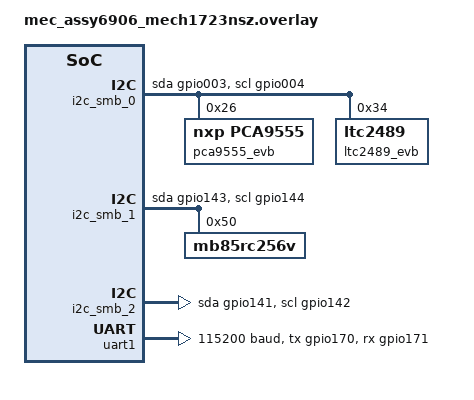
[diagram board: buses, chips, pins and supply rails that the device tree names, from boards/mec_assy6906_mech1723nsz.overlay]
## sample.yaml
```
# This file is provided so that the application can be compiled using Twister,
# the Zephyr testing tool. In this file, multiple combinations can be specified,
# so that you can easily test all of them locally or in CI.
sample:
  description: Example application for TACH sensor using ICCT
  name: example-tach-icct-application
common:
  build_only: true
  platform_allow:
    - mec_assy6906_mech1723nlj
    - mec_assy6906_mech1723nsz
    - mec_assy6941_mec1743qlj
    - mec_assy6941_mec1743qsz
    - mec_assy6941_mec1753qlj
    - mec_assy6941_mec1753qsz
tests:
  app.default: {}
  app.debug:
    extra_overlay_confs:
      - debug.conf
```

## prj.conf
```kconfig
# Copyright (c) 2025 Microchip Technology Inc.
# SPDX-License-Identifier: Apache-2.0
#
# This file contains selected Kconfig options for the application.

CONFIG_LOG=y
CONFIG_LOG_MODE_IMMEDIATE=y
CONFIG_LOG_BACKEND_UART=y

CONFIG_PWM=y
CONFIG_SENSOR=y

# CONFIG_DEBUG=y
```

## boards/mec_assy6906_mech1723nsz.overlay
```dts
/*
 * Copyright (c) 2025 Microchip Technology Inc.
 * SPDX-License-Identifier: Apache-2.0
 */

#include <zephyr/dt-bindings/gpio/gpio.h>
#include <zephyr/dt-bindings/gpio/microchip-xec-gpio.h>

/*
 * MEC5_ASSY6906 with MEC5200M-LJ part.
 * JP6 2-3 GPIO074 (BSS_STRAP) pulled-down via 10K to ground selects
 *   Boot-ROM load from Shared-SPI.
 * JP7 No jumper
 * JP23 14-15 selects GPIO055 as SHD_nCS0
 * JP42 1-2 connects 1.8V
 * JP60 2-3 VTR2 is powered by 1.8V
 * NOTE: VTR3 is always 1.8V
 *
 * GPIO175/CMP_VOUT1/PWM8_ALT on schematic, LED4 on silkscreen.
 *
 * I2C00_SDA/SCL = GPIO003/004
 * Install Jumper JP15 4-5 to route GPIO004 as I2C00_SCL/UART2_DCD
 * Install Jumper JP15 7-8 to route GPIO003 as I2C00_SDA/UART2_RI
 * Install Jumper JP27 34-35 to select I2C00_SDA
 * Install Jumper JP27 31-32 to select I2C00_SCL
 * Install Jumper JP70 19-20 7.5K pull-up to VTR1 for I2C00_SDA
 * Install Jumper JP70 21-22 7.5K pull-up to VTR1 for I2C00_SCL
 *
 * U4 is PCA9555 I2C GPIO expander
 * JP52 1-2 use +3.3V_STBY
 * JP61 1-2, 3-4 connect I2C00_SCL and I2C00_SDA to EXTERNAL_SCLK/SDATA
 * JP55 selects I2C address
 * 1-2 = A0, 3-4 = A1, 5-6 = A2 all pull-up by default. Install jumper to ground signals.
 * Installed jumper on JP55 1-2. I2C Address = 0x26
 *
 * U19 is LTC2489 I2C 4-channel delta-sigma ADC
 * Address select pins CA0, CA1 both pulled high. Install jumpers to ground signals.
 * Installed jumpers on JP124 1-2 and 3-4. I2C Address = 0x34
 *
 * Attached Fujitsu MB85RC256V I2C FRAM demo board to 6-pin header J17
 * AdaFruit I2C FRAM breakout board.
 * NOTE: removed demo board 1K pulls on SCL and SDA. Using EVB pulls on SCL/SDA.
 * This device allows testing of larger I2C messages and breaking up large transactions
 * into multiple message buffers.
 * FRAM board power -> J17-5 VTR1 (3.3V)
 * FRAM board GND   -> J17-6 GND
 * FRAM board SCL   -> J17-1 I2C00_SCL
 * FRAM board SDA   -> J17-3 I2C00_SDA
 * FRAM address pins A0, A1, A2 are internally pulled-down.
 * I2C Address = 1010_A2_A1_A0 = 0x50 (default)
 *
 * JP14 3x6
 * 4-5 GPIO004 I2C00_SCL
 * 7-8 GPIO003 I2C00_SDA
 *
 * JP58
 * 1-2 GPIO004 I2C00_SCL to EXTERNAL_SCLK
 * 3-4 GPIO003 I2C00_SDA to EXTERNAL_SDA
 *
 * EXTERNAL_SCLK, EXTERNAL_SDA are connected to
 * U4 PCA9555PW I2C to GPIO expander
 * U19 LTC2489CDE ADC
 *
 * JP17 3x8
 *  19-20 GPIO144 I2C04_SCL
 *  22-23 GPIO143 I2C04_SDA
 *
 * JP22 3x4
 *  1-2 GPIO144 I2C04_SCL
 *  4-5 GPIO143 I2C04_SDA
 *
 * pull-ups. For I2C_TARGET tests only connect one set up pull-ups
 * since we are connecting I2C port 0 and port 4 together.
 * JP68 19-20 I2C00_SDA connected via 7.5K pull-up to VTR1
 * JP68 21-22 I2C00_SCL connected via 7.5K pull-up to VTR1
 * JP70 25-26 I2C04_SDA connected via 7.5K pull-up to VTR1
 * JP70 27-28 I2C04_SCL connected via 7.5K pull-up to VTR1
 *
 * I2C Port 4 is on VTR1. 1x6 header J14
 * 1 = I2C04_SCL
 * 2, 6 = GND
 * 3 = I2C04_SDA
 * 4 = NC
 * 5 = VTR1
 *
 * I2C Port 0 is on VTR1. 1x6 header J10
 * 1 = I2C00_SCL
 * 2, 6 = GND
 * 3 = I2C00_SDA
 * 4 = NC
 * 5 = VTR1
 *
 * Use I2C00 port on I2C00 device as external Controller
 * Use I2C04 port on I2C01 device as target
 * Add wires:
 * J17-1 to J12-1
 * J17-3 to J12-3
 * Disable pull-ups on I2C00 port:
 * Remove jumpers JP70 19-20 and 21-22
 */

/ {
	aliases {
		i2c0 = &i2c_smb_0;
		i2c-0 = &i2c_smb_0;
		i2c1 = &i2c_smb_1;
		i2c-1 = &i2c_smb_1;
		i2c2 = &i2c_smb_2;
		i2c-2 = &i2c_smb_2;
	};

	zephyr,user {
		pinctrl-0 = <&tst_clk_out_gpio060>;
		pinctrl-names = "default";
	};
};

&dmac {
	compatible = "microchip,mec5-dmac";
	status = "okay";
};

/* I2C Port 0 */
/*	drive-strength = "4x"; */
&i2c00_scl_gpio004 {
	drive-open-drain;
	output-enable;
	output-high;
	drive-strength = "4x";
};
&i2c00_sda_gpio003 {
	drive-open-drain;
	output-enable;
	output-high;
	drive-strength = "4x";
};

/* I2C Port 4 */
&i2c04_sda_gpio143 {
	drive-open-drain;
	output-enable;
	output-high;
	drive-strength = "4x";
};
&i2c04_scl_gpio144 {
	drive-open-drain;
	output-enable;
	output-high;
	drive-strength = "4x";
};

/* I2C Port 5 */
&i2c05_sda_gpio141 {
	drive-open-drain;
	output-enable;
	output-high;
	drive-strength = "4x";
};
&i2c05_scl_gpio142 {
	drive-open-drain;
	output-enable;
	output-high;
	drive-strength = "4x";
};

&i2c_smb_0 {
	compatible = "microchip,mec5-i2c";
	status = "okay";
	port_sel = < 0 >;
	sda-gpios = < MCHP_GPIO_DECODE_003 0 >;
	scl-gpios = < MCHP_GPIO_DECODE_004 0 >;
	pinctrl-0 = < &i2c00_sda_gpio003 &i2c00_scl_gpio004 >;
	pinctrl-names = "default";

	pca9555_evb: pca9555@26 {
		/* Zephyr will load NXP PCA9555 driver after MEC5 I2C because it calls MEC5 I2C during init */
		compatible = "nxp,pca9555";
		reg = <0x26>;
		ngpios = <16>;
		gpio-controller;
		#gpio-cells = <2>;
	};

	ltc2489_evb: ltc2489@34 {
		/* No Zephyr driver exists */
		reg = <0x34>;
		#io-channels-cells = <1>;
	};
};

&i2c_smb_1 {
	compatible = "microchip,mec5-i2c";
	status = "okay";
	port_sel = < 4 >;
	sda-gpios = < MCHP_GPIO_DECODE_143 0 >;
	scl-gpios = < MCHP_GPIO_DECODE_144 0 >;
	pinctrl-0 = < &i2c04_sda_gpio143 &i2c04_scl_gpio144 >;
	pinctrl-names = "default";

	/* External Fujitsu MB85RC256V 256KB (32K x 8) FRAM */
	mb85rc256v: mb85rc256v@50 {
		/* No Zephyr driver exists */
		reg = <0x50>;
	};
};

&i2c_smb_2 {
	compatible = "microchip,mec5-i2c-nl-zd";
	interrupts = <22 3>; /* lower priority than default priority of DMA channels */
	port_sel = < 5 >;
	pinctrl-0 = < &i2c05_sda_gpio141 &i2c05_scl_gpio142 >;
	pinctrl-names = "default";
	dmas = <&dmac 4 0x5>, <&dmac 5 0x4>;
	dma-names = "cm", "tm";
	status = "okay";
};

&uart1 {
	current-speed = <115200>;
	status = "okay";
	pinctrl-0 = <&uart1_tx_gpio170 &uart1_rx_gpio171>;
	pinctrl-names = "default";
};
```

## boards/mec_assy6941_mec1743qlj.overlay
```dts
/*
 * Copyright (c) 2025 Microchip Technology Inc.
 * SPDX-License-Identifier: Apache-2.0
 */

#include <zephyr/dt-bindings/gpio/gpio.h>
#include <zephyr/dt-bindings/gpio/microchip-xec-gpio.h>

/*
 * MEC5_ASSY6941 with MEC1743Q-LJ part.
 * JP8 1-2 GPIO055 (BSS_STRAP) pulled-down via 10K to ground selects
 *   Boot-ROM load from eSPI
 * JP7 No jumper
 * JP18 14-15 selects GPIO055 as SHD_nCS0
 * JP45 1-2 connects 1.8V
 * JP62 2-3 and JP68 3-4 VTR2 is powered by 1.8V
 * NOTE: VTR3 is always 1.8V
 *
 * GPIO175/CMP_VOUT1/PWM8_ALT on schematic, LED4 on silkscreen.
 *
 * I2C00_SDA/SCL = GPIO003/004
 * Install Jumper JP15 4-5 to route GPIO004 as I2C00_SCL/UART2_DCD
 * Install Jumper JP15 7-8 to route GPIO003 as I2C00_SDA/UART2_RI
 * Install Jumper JP27 34-35 to select I2C00_SDA
 * Install Jumper JP27 31-32 to select I2C00_SCL
 * Install Jumper JP70 19-20 7.5K pull-up to VTR1 for I2C00_SDA
 * Install Jumper JP70 21-22 7.5K pull-up to VTR1 for I2C00_SCL
 *
 * JP61
 * 1-2 GPIO004 I2C00_SCL to EXTERNAL_SCLK
 * 3-4 GPIO003 I2C00_SDA to EXTERNAL_SDA
 *
 * I2C04_SDA/SCL = GPIO143/144
 * Install Jumper JP20 1-2 to route GPIO144 as I2C04_SCL/UART0_nRTS
 * Install Jumper JP20 4-5 to route GPIO143 as I2C04_SDA/UART0_CTS
 * Install Jumper JP21 13-14 to select I2C04_SCL
 * Install Jumper JP21 25-26 to select I2C04_SDA
 * Install Jumper JP71 25-26 7.5K pull-up to VTR1 for I2C04_SDA
 * Install Jumper JP71 27-28 7.5K pull-up to VTR1 for I2C04_SCL
 *
 * EVB I2C target devices on EXTERNAL_SCLK/SDA bus.
 * U4 is PCA9555 I2C GPIO expander
 * JP52 1-2 use +3.3V_STBY
 * JP61 1-2, 3-4 connect I2C00_SCL and I2C00_SDA to EXTERNAL_SCLK/SDATA
 * JP55 selects I2C address
 * 1-2 = A0, 3-4 = A1, 5-6 = A2 all pull-up by default. Install jumper to ground signals.
 * Installed jumper on JP55 1-2. I2C Address = 0x26
 *
 * U19 is LTC2489 I2C 4-channel delta-sigma ADC
 * Address select pins CA0, CA1 both pulled high. Install jumpers to ground signals.
 * Installed jumpers on JP124 1-2 and 3-4. I2C Address = 0x34
 *
 * Added target device to I2C04 using header J17
 * Attached Fujitsu MB85RC256V I2C FRAM demo board to 6-pin header J17
 * AdaFruit I2C FRAM breakout board.
 * NOTE: removed demo board 1K pulls on SCL and SDA. Using EVB pulls on SCL/SDA.
 * This device allows testing of larger I2C messages and breaking up large transactions
 * into multiple message buffers.
 * FRAM board power -> J17-5 VTR1 (3.3V)
 * FRAM board GND   -> J17-6 GND
 * FRAM board SCL   -> J17-1 I2C00_SCL
 * FRAM board SDA   -> J17-3 I2C00_SDA
 * FRAM address pins A0, A1, A2 are internally pulled-down.
 * I2C Address = 1010_A2_A1_A0 = 0x50 (default)
 *
 * I2C Port 4 is on VTR1. 1x6 header J17
 * 1 = I2C04_SCL
 * 2, 6 = GND
 * 3 = I2C04_SDA
 * 4 = NC
 * 5 = VTR1
 *
 * I2C Port 0 is on VTR1. 1x6 header J12
 * 1 = I2C00_SCL
 * 2, 6 = GND
 * 3 = I2C00_SDA
 * 4 = NC
 * 5 = VTR1
 *
 * Use I2C00 port on I2C00 device as external Controller
 * Use I2C04 port on I2C01 device as target
 * Add wires:
 * J17-1 to J12-1
 * J17-3 to J12-3
 * Disable pull-ups on I2C00 port:
 * Remove jumpers JP70 19-20 and 21-22
 */

/ {
	aliases {
		i2c0 = &i2c_smb_0;
		i2c-0 = &i2c_smb_0;
		i2c1 = &i2c_smb_1;
		i2c-1 = &i2c_smb_1;
		i2c2 = &i2c_smb_2;
		i2c-2 = &i2c_smb_2;
	};

	zephyr,user {
		pinctrl-0 = <&tst_clk_out_gpio060>;
		pinctrl-names = "default";
	};
};

&dmac {
	compatible = "microchip,mec5-dmac";
	status = "okay";
};

/* I2C Port 0 */
/*	drive-strength = "4x"; */
&i2c00_scl_gpio004 {
	drive-open-drain;
	output-enable;
	output-high;
	drive-strength = "4x";
};
&i2c00_sda_gpio003 {
	drive-open-drain;
	output-enable;
	output-high;
	drive-strength = "4x";
};

/* I2C Port 4 */
&i2c04_sda_gpio143 {
	drive-open-drain;
	output-enable;
	output-high;
	drive-strength = "4x";
};
&i2c04_scl_gpio144 {
	drive-open-drain;
	output-enable;
	output-high;
	drive-strength = "4x";
};

/* I2C Port 5 */
&i2c05_sda_gpio141 {
	drive-open-drain;
	output-enable;
	output-high;
	drive-strength = "4x";
};
&i2c05_scl_gpio142 {
	drive-open-drain;
	output-enable;
	output-high;
	drive-strength = "4x";
};

&i2c_smb_0 {
	compatible = "microchip,mec5-i2c";
	status = "okay";
	port_sel = < 0 >;
	sda-gpios = < MCHP_GPIO_DECODE_003 0 >;
	scl-gpios = < MCHP_GPIO_DECODE_004 0 >;
	pinctrl-0 = < &i2c00_sda_gpio003 &i2c00_scl_gpio004 >;
	pinctrl-names = "default";

	pca9555_evb: pca9555@26 {
		/* Zephyr will load NXP PCA9555 driver after MEC5 I2C because it calls MEC5 I2C during init */
		compatible = "nxp,pca9555";
		reg = <0x26>;
		ngpios = <16>;
		gpio-controller;
		#gpio-cells = <2>;
	};

	ltc2489_evb: ltc2489@34 {
		/* No Zephyr driver exists */
		reg = <0x34>;
		#io-channels-cells = <1>;
	};
};

&i2c_smb_1 {
	compatible = "microchip,mec5-i2c";
	status = "okay";
	port_sel = < 4 >;
	sda-gpios = < MCHP_GPIO_DECODE_143 0 >;
	scl-gpios = < MCHP_GPIO_DECODE_144 0 >;
	pinctrl-0 = < &i2c04_sda_gpio143 &i2c04_scl_gpio144 >;
	pinctrl-names = "default";

	/* External Fujitsu MB85RC256V 256KB (32K x 8) FRAM */
	mb85rc256v: mb85rc256v@50 {
		/* No Zephyr driver exists */
		reg = <0x50>;
	};
};

&i2c_smb_2 {
	compatible = "microchip,mec5-i2c-nl-zd";
	interrupts = <22 3>; /* lower priority than default priority of DMA channels */
	port_sel = < 5 >;
	pinctrl-0 = < &i2c05_sda_gpio141 &i2c05_scl_gpio142 >;
	pinctrl-names = "default";
	dmas = <&dmac 4 0x5>, <&dmac 5 0x4>;
	dma-names = "cm", "tm";
	status = "okay";
};

&uart1 {
	current-speed = <115200>;
	status = "okay";
	pinctrl-0 = <&uart1_tx_gpio170 &uart1_rx_gpio171>;
	pinctrl-names = "default";
};
```

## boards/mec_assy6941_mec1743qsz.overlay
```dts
/*
 * Copyright (c) 2025 Microchip Technology Inc.
 * SPDX-License-Identifier: Apache-2.0
 */

#include <zephyr/dt-bindings/gpio/gpio.h>
#include <zephyr/dt-bindings/gpio/microchip-xec-gpio.h>

/*
 * MEC5_ASSY6941 with MEC1743Q-SZ part.
 * JP8 1-2 GPIO055 (BSS_STRAP) pulled-down via 10K to ground selects
 *   Boot-ROM load from eSPI
 * JP7 No jumper
 * JP18 14-15 selects GPIO055 as SHD_nCS0
 * JP45 1-2 connects 1.8V
 * JP62 2-3 and JP68 3-4 VTR2 is powered by 1.8V
 * NOTE: VTR3 is always 1.8V
 *
 * GPIO175/CMP_VOUT1/PWM8_ALT on schematic, LED4 on silkscreen.
 *
 * I2C00_SDA/SCL = GPIO003/004
 * Install Jumper JP15 4-5 to route GPIO004 as I2C00_SCL/UART2_DCD
 * Install Jumper JP15 7-8 to route GPIO003 as I2C00_SDA/UART2_RI
 * Install Jumper JP27 34-35 to select I2C00_SDA
 * Install Jumper JP27 31-32 to select I2C00_SCL
 * Install Jumper JP70 19-20 7.5K pull-up to VTR1 for I2C00_SDA
 * Install Jumper JP70 21-22 7.5K pull-up to VTR1 for I2C00_SCL
 *
 * JP61
 * 1-2 GPIO004 I2C00_SCL to EXTERNAL_SCLK
 * 3-4 GPIO003 I2C00_SDA to EXTERNAL_SDA
 *
 * I2C04_SDA/SCL = GPIO143/144
 * Install Jumper JP20 1-2 to route GPIO144 as I2C04_SCL/UART0_nRTS
 * Install Jumper JP20 4-5 to route GPIO143 as I2C04_SDA/UART0_CTS
 * Install Jumper JP21 13-14 to select I2C04_SCL
 * Install Jumper JP21 25-26 to select I2C04_SDA
 * Install Jumper JP71 25-26 7.5K pull-up to VTR1 for I2C04_SDA
 * Install Jumper JP71 27-28 7.5K pull-up to VTR1 for I2C04_SCL
 *
 * EVB I2C target devices on EXTERNAL_SCLK/SDA bus.
 * U4 is PCA9555 I2C GPIO expander
 * JP52 1-2 use +3.3V_STBY
 * JP61 1-2, 3-4 connect I2C00_SCL and I2C00_SDA to EXTERNAL_SCLK/SDATA
 * JP55 selects I2C address
 * 1-2 = A0, 3-4 = A1, 5-6 = A2 all pull-up by default. Install jumper to ground signals.
 * Installed jumper on JP55 1-2. I2C Address = 0x26
 *
 * U19 is LTC2489 I2C 4-channel delta-sigma ADC
 * Address select pins CA0, CA1 both pulled high. Install jumpers to ground signals.
 * Installed jumpers on JP124 1-2 and 3-4. I2C Address = 0x34
 *
 * Added target device to I2C04 using header J17
 * Attached Fujitsu MB85RC256V I2C FRAM demo board to 6-pin header J17
 * AdaFruit I2C FRAM breakout board.
 * NOTE: removed demo board 1K pulls on SCL and SDA. Using EVB pulls on SCL/SDA.
 * This device allows testing of larger I2C messages and breaking up large transactions
 * into multiple message buffers.
 * FRAM board power -> J17-5 VTR1 (3.3V)
 * FRAM board GND   -> J17-6 GND
 * FRAM board SCL   -> J17-1 I2C00_SCL
 * FRAM board SDA   -> J17-3 I2C00_SDA
 * FRAM address pins A0, A1, A2 are internally pulled-down.
 * I2C Address = 1010_A2_A1_A0 = 0x50 (default)
 *
 * I2C Port 4 is on VTR1. 1x6 header J17
 * 1 = I2C04_SCL
 * 2, 6 = GND
 * 3 = I2C04_SDA
 * 4 = NC
 * 5 = VTR1
 *
 * I2C Port 0 is on VTR1. 1x6 header J12
 * 1 = I2C00_SCL
 * 2, 6 = GND
 * 3 = I2C00_SDA
 * 4 = NC
 * 5 = VTR1
 *
 * Use I2C00 port on I2C00 device as external Controller
 * Use I2C04 port on I2C01 device as target
 * Add wires:
 * J17-1 to J12-1
 * J17-3 to J12-3
 * Disable pull-ups on I2C00 port:
 * Remove jumpers JP70 19-20 and 21-22
 */

/ {
	aliases {
		i2c0 = &i2c_smb_0;
		i2c-0 = &i2c_smb_0;
		i2c1 = &i2c_smb_1;
		i2c-1 = &i2c_smb_1;
		i2c2 = &i2c_smb_2;
		i2c-2 = &i2c_smb_2;
	};

	zephyr,user {
		pinctrl-0 = <&tst_clk_out_gpio060>;
		pinctrl-names = "default";
	};
};

&dmac {
	compatible = "microchip,mec5-dmac";
	status = "okay";
};

/* I2C Port 0 */
/*	drive-strength = "4x"; */
&i2c00_scl_gpio004 {
	drive-open-drain;
	output-enable;
	output-high;
	drive-strength = "4x";
};
&i2c00_sda_gpio003 {
	drive-open-drain;
	output-enable;
	output-high;
	drive-strength = "4x";
};

/* I2C Port 4 */
&i2c04_sda_gpio143 {
	drive-open-drain;
	output-enable;
	output-high;
	drive-strength = "4x";
};
&i2c04_scl_gpio144 {
	drive-open-drain;
	output-enable;
	output-high;
	drive-strength = "4x";
};

/* I2C Port 5 */
&i2c05_sda_gpio141 {
	drive-open-drain;
	output-enable;
	output-high;
	drive-strength = "4x";
};
&i2c05_scl_gpio142 {
	drive-open-drain;
	output-enable;
	output-high;
	drive-strength = "4x";
};

&i2c_smb_0 {
	compatible = "microchip,mec5-i2c";
	status = "okay";
	port_sel = < 0 >;
	sda-gpios = < MCHP_GPIO_DECODE_003 0 >;
	scl-gpios = < MCHP_GPIO_DECODE_004 0 >;
	pinctrl-0 = < &i2c00_sda_gpio003 &i2c00_scl_gpio004 >;
	pinctrl-names = "default";

	pca9555_evb: pca9555@26 {
		/* Zephyr will load NXP PCA9555 driver after MEC5 I2C because it calls MEC5 I2C during init */
		compatible = "nxp,pca9555";
		reg = <0x26>;
		ngpios = <16>;
		gpio-controller;
		#gpio-cells = <2>;
	};

	ltc2489_evb: ltc2489@34 {
		/* No Zephyr driver exists */
		reg = <0x34>;
		#io-channels-cells = <1>;
	};
};

&i2c_smb_1 {
	compatible = "microchip,mec5-i2c";
	status = "okay";
	port_sel = < 4 >;
	sda-gpios = < MCHP_GPIO_DECODE_143 0 >;
	scl-gpios = < MCHP_GPIO_DECODE_144 0 >;
	pinctrl-0 = < &i2c04_sda_gpio143 &i2c04_scl_gpio144 >;
	pinctrl-names = "default";

	/* External Fujitsu MB85RC256V 256KB (32K x 8) FRAM */
	mb85rc256v: mb85rc256v@50 {
		/* No Zephyr driver exists */
		reg = <0x50>;
	};
};

&i2c_smb_2 {
	compatible = "microchip,mec5-i2c-nl-zd";
	interrupts = <22 3>; /* lower priority than default priority of DMA channels */
	port_sel = < 5 >;
	pinctrl-0 = < &i2c05_sda_gpio141 &i2c05_scl_gpio142 >;
	pinctrl-names = "default";
	dmas = <&dmac 4 0x5>, <&dmac 5 0x4>;
	dma-names = "cm", "tm";
	status = "okay";
};

&uart1 {
	current-speed = <115200>;
	status = "okay";
	pinctrl-0 = <&uart1_tx_gpio170 &uart1_rx_gpio171>;
	pinctrl-names = "default";
};
```

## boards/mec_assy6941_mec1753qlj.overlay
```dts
/*
 * Copyright (c) 2025 Microchip Technology Inc.
 * SPDX-License-Identifier: Apache-2.0
 */

#include <zephyr/dt-bindings/gpio/gpio.h>
#include <zephyr/dt-bindings/gpio/microchip-xec-gpio.h>

/*
 * MEC5_ASSY6941 with MEC1753Q-LJ part.
 * JP8 1-2 GPIO055 (BSS_STRAP) pulled-down via 10K to ground selects
 *   Boot-ROM load from eSPI
 * JP7 No jumper
 * JP18 14-15 selects GPIO055 as SHD_nCS0
 * JP45 1-2 connects 1.8V
 * JP62 2-3 and JP68 3-4 VTR2 is powered by 1.8V
 * NOTE: VTR3 is always 1.8V
 *
 * GPIO175/CMP_VOUT1/PWM8_ALT on schematic, LED4 on silkscreen.
 *
 * Capture Compare Timer input capture pins:
 * ICT0  GPIO050 F1 VTR1    use for testing
 * ICT1  GPIO051 F1 VTR1    use for testing
 * ICT2  GPIO052 F1 VTR2
 * ICT3  GPIO016 F3 VTR2
 * ICT4  GPIO151 F1 VTR1   use for testing
 * ICT5  GPIO140 F4 VTR1
 * ICT5_ALT GPIO065 F3 VTR3
 * ICT6  GPIO100 F2 VTR3
 * ICT7  GPIO011 F3 VTR3
 * ICT8  GPIO063 F3 VTR3
 * ICT9  GPIO113 F2 VTR1
 * ICT10 GPIO015 F2 VTR2
 * ICT11 GPIO046 F3 VTR1
 * ICT12 GPIO124 F3 VTR1
 * ICT13 GPIO047 F3 VTR1
 * ICT14 GPIO045 F3 VTR1
 * ICT15 GPIO035 F3 VTR1   use for testing
 */

/ {
	aliases {
		i2c0 = &i2c_smb_0;
		i2c-0 = &i2c_smb_0;
		i2c1 = &i2c_smb_1;
		i2c-1 = &i2c_smb_1;
		i2c2 = &i2c_smb_2;
		i2c-2 = &i2c_smb_2;
	};

	zephyr,user {
		pinctrl-0 = <&tst_clk_out_gpio060>;
		pinctrl-names = "default";
	};
};

&cctmr0 {
	compatible = "microchip,mec5-tach-cct";
	pinctrl-0 = <&ict0_tach0_gpio050 &ict1_tach1_gpio051 &ict4_gpio151 &ict15_gpio035>;
	pinctrl-names = "default";
	compare-channels = <0 1 4 15>;
	status = "okay";
};

/* I2C Port 0 */
/*	drive-strength = "4x"; */
&i2c00_scl_gpio004 {
	drive-open-drain;
	output-enable;
	output-high;
	drive-strength = "4x";
};
```

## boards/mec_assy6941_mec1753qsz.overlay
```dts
/*
 * Copyright (c) 2025 Microchip Technology Inc.
 * SPDX-License-Identifier: Apache-2.0
 */

#include <zephyr/dt-bindings/gpio/gpio.h>
#include <zephyr/dt-bindings/gpio/microchip-xec-gpio.h>

/ {
	zephyr,user {
		pinctrl-0 = <&tst_clk_out_gpio060>;
		pinctrl-names = "default";
	};
};

#include "mec_tach_cct.dtsi"
```

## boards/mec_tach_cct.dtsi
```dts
/*
 * Copyright (c) 2025 Microchip Technology Inc.
 * SPDX-License-Identifier: Apache-2.0
 */

#include <zephyr/dt-bindings/gpio/gpio.h>
#include <zephyr/dt-bindings/gpio/microchip-xec-gpio.h>

/*
 * Capture Compare Timer input capture pins:
 * ICT0  GPIO050 F1 VTR1    use for testing
 * ICT1  GPIO051 F1 VTR1
 * ICT2  GPIO052 F1 VTR2
 * ICT3  GPIO016 F3 VTR2
 * ICT4  GPIO151 F1 VTR1
 * ICT5  GPIO140 F4(F2 MEC172x) VTR1
 * ICT5_ALT GPIO065 F3 VTR3
 * ICT6  GPIO100 F2 VTR3
 * ICT7  GPIO011 F3 VTR3
 * ICT8  GPIO063 F3 VTR3
 * ICT9  GPIO113 F2 VTR1
 * ICT10 GPIO015 F2 VTR2
 * ICT11 GPIO046 F3(F1 MEC172x) VTR1
 * ICT12 GPIO124 F3 VTR1
 * ICT13 GPIO047 F3 VTR1
 * ICT14 GPIO045 F3 VTR1
 * ICT15 GPIO035 F3 VTR1
 *
 * MEC_ASSY6941 EVB for MEC174x/MEC175x
 * Requires VTR1 and VTR2 both jumpered for +3.3V
 * JP43 1-2
 * VTR1 +3.3V JP159 1-2, JP58 1-2, JP60 1-2
 * VTR2 +3.3V J68 1-2, JP62 1-2, JP65 1-2
 *
 * FAN0
 *   JP78 2-3 select +5V on pin 2
 *   P4(1x4) connector
 *     1 = GND
 *     2 = Power (+5V)
 *     3 = FAN_TACH0
 *     4 = FAN_PWM0 and 10:1 divider to gate of Q22
 *
 *   FAN_TACH0
 *     J26(2x8) 1-2 jumper: connect GPIO050/ICT0 to FAN_TACH0
 *
 *   FAN_PWM0
 *     JP79(2x12) 1-2 jumper: connect GPIO053/PWM0 to FAN_PWM0
 *     JP76(2x17) 1-2 No jumper: 100K pull-up to VTR2
 * 
 * MEC_ASSY6906 EVB for MEC172x
 *   JP40 1-2
 *   VTR1 +3.3V JP56 1-2, JP55 1-2, JP57 1-2
 *   VTR2 +3.3V JP60 1-2, JP61 1-2, JP59 1-2, JP62 1-2
 *
 *   FAN0 same as MEC_ASSY6941
 *
 *   FAN_TACH0
 *     J25(2x4) 1-2 jumper: connect GPIO050/ICT0 to FAN_TACH0
 *
 *   FAN_PWM0 same as MEC_ASSY6941
 */

/ {
	aliases {
		tach-cct = &cctmr0;
		pwm-0 = &pwm0;
	};
};

&pwm0 {
	compatible = "microchip,mec5-pwm";
	pinctrl-0 = <&pwm0_gpio053>;
	pinctrl-names = "default";
	status = "okay";
};

&cctmr0 {
	compatible = "microchip,mec5-tach-cct-cap";
	interrupts = <146 3>, <147 3>, <148 3>, <149 3>,
		     <150 3>, <151 3>, <152 3>, <153 3>,
		     <154 3>;
	interrupt-names = "freerun", "cap0", "cap1", "cap2",
			  "cap3", "cap4", "cap5", "cmp0", "cmp1";
	pinctrl-0 = <&ict0_tach0_gpio050 &ict1_tach1_gpio051>;
	pinctrl-names = "default";
	freerun-clk = "3M";
	status = "okay";
	#address-cells = <1>;
	#size-cells = <0>;

	capture0@0 {
		reg = <0>;
		#address-cells = <1>;
		#size-cells = <0>;
		input-mux = <0>;
		edge-detect = "falling edges";
		filter-clk = "1500K";
		status = "okay";
	};

	capture1@1 {
		reg = <1>;
		#address-cells = <1>;
		#size-cells = <0>;
		input-mux = <1>;
		edge-detect = "rising edges";
		filter-clk = "3M";
		status = "okay";
	};
};
```

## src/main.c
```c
/*
 * Copyright (c) 2025 Microchip Technology Inc.
 * SPDX-License-Identifier: Apache-2.0
 */

#include <errno.h>
#include <stdint.h>
#include <string.h>
#include <soc.h>

#include <zephyr/device.h>
#include <zephyr/devicetree.h>
#include <zephyr/kernel.h>
#include <zephyr/drivers/gpio.h>
#include <zephyr/drivers/led.h>
#include <zephyr/drivers/pinctrl.h>
#include <zephyr/drivers/pwm.h>
#include <zephyr/drivers/sensor.h>
#include <zephyr/sys/atomic.h>
#include <zephyr/sys/sys_io.h>
#include <zephyr/zbus/zbus.h>

#include <zephyr/logging/log_ctrl.h>
#include <zephyr/logging/log.h>
LOG_MODULE_REGISTER(main, CONFIG_APP_LOG_LEVEL);

#include <device_mec5.h>
#include <mec_retval.h>

#define ZEPHYR_USER_NODE DT_PATH(zephyr_user)

#define PWM_NODE DT_ALIAS(pwm_0)
#define TACH_CCT_NODE DT_ALIAS(tach_cct)

static const struct device *pwm_dev = DEVICE_DT_GET(PWM_NODE);
static const struct device *tach_cct_dev = DEVICE_DT_GET(TACH_CCT_NODE);

/* ---- Global variables ---- */
static volatile uint32_t spin_val;
static volatile int ret_val;

/* ---- prototypes ---- */
static void spin_on(uint32_t id, int rval);
static void pr_sensor_value(struct sensor_value *sval);

/* Delay for EVB PWM circuit to ramp up/down to new value */
#define PWM_RAMP_DELAY K_MSEC(2000)

/* MCHP PWM implements a 16-bit counter */
#define PWM_PERIOD_CYCLES 64000u

static uint32_t pulse_width_cycles_tbl[] = {
	12800u, /* 20% duty cycle */
	16000u, /* 25% */
	19200u, /* 30% */
	25600u, /* 40% */
	32000u, /* 50% */
	38400u, /* 60% */
	44800u, /* 70% */
	51200u, /* 80% */
	57600u, /* 90% */
	60800u, /* 95% */
	64000u, /* 100% */
};

int main(void)
{
	uint64_t pwm_cyc_per_sec = 0;
	uint32_t period_cycles = 0, pulse_width_cycles = 0, duty_cycle = 0;
	struct sensor_value sval = {0};
	int ret = 0, direction = 1;
	size_t n = 0, busy_count = 0;

	LOG_INF("app_tach_icct sample: board: %s", DT_N_P_compatible_IDX_0);

	if (!device_is_ready(pwm_dev)) {
		LOG_ERR("PWM device is not ready!");
		return -EIO;
	}

	if (!device_is_ready(tach_cct_dev)) {
		LOG_ERR("TACH CCT device is not ready!");
		return -EIO;
	}

	ret = pwm_get_cycles_per_sec(pwm_dev, 0, &pwm_cyc_per_sec);
	if (ret) {
		LOG_ERR("PWM driver error getting cycles per second (%d)", ret);
		return -EIO;
	}

	LOG_INF("PWM cycles per second = %llu", pwm_cyc_per_sec); /* 48,000,000 */

	period_cycles = PWM_PERIOD_CYCLES;
	while (1) {
		pulse_width_cycles = pulse_width_cycles_tbl[n];
		duty_cycle = (pulse_width_cycles * 100u) / period_cycles;
		LOG_INF("Set period cycles = %u, pulse width cycles = %u  duty_cycle = %u",
			period_cycles, pulse_width_cycles, duty_cycle);

		ret = pwm_set_cycles(pwm_dev, 0, period_cycles, pulse_width_cycles, 0);
		if (ret) {
			LOG_ERR("PWM driver set cycles returned error (%d)", ret);
			return -EIO;
		}

		LOG_INF("Delay for board circuit to ramp to final value");
		k_sleep(PWM_RAMP_DELAY);

		/* blocking routine triggering HW to measure all supported sensors
		 * or we can specify a single sensor blocking only for that sensor:
		 * int sensor_sample_fetch_chan(const struct device *dev, enum sensor_channel type)
		 */
		/* ret = sensor_sample_fetch(tach_cct_dev); */
		ret = sensor_sample_fetch_chan(tach_cct_dev, SENSOR_CHAN_RPM);
		if (ret) {
			LOG_ERR("Sensor fetch API returned error (%d)", ret);
			return ret;
		}

		/* blocking routine trigger HW to measure specified sensor type */
		busy_count = 0;
		do {
			ret = sensor_channel_get(tach_cct_dev, SENSOR_CHAN_RPM, &sval);
			if (ret == 0) {
				break;
			} else if (ret == -EBUSY) {
				busy_count++;
			} else {
				LOG_ERR("Sensor chan get API returned error (%d)", ret);
				break;
			}
		} while (ret == -EBUSY);

		if (busy_count) {
			LOG_INF("Sensor channel get busy count = %u", busy_count);
		}

		pr_sensor_value(&sval);

		if (direction) {
			n++;
			if (n >= ARRAY_SIZE(pulse_width_cycles_tbl)) {
				direction = 0;
				n = ARRAY_SIZE(pulse_width_cycles_tbl) - 1u;
				if (n) {
					n--;
				}
			}
		} else {
			if (n) {
				n--;
			} else {
				direction = 1u;
				n++;
			}
		}
	}

	LOG_INF("Application Done (%d)", ret);
	while (1) {
		k_sleep(K_MSEC(5000));
		LOG_INF("Wake: main");
	}

	spin_on((uint32_t)__LINE__, 0);

	return 0;
}

static void pr_sensor_value(struct sensor_value *sval)
{
	if (!sval) {
		return;
	}

	LOG_INF("Sensor value: v1 = %d(0x%0x),  v2 = %d(0x%0x)", sval->val1, sval->val1,
								 sval->val2, sval->val2);
}

static void spin_on(uint32_t id, int rval)
{
	spin_val = id;
	ret_val = rval;

	log_panic(); /* flush log buffers */

	while (spin_val) {
		;
	}
}
```
